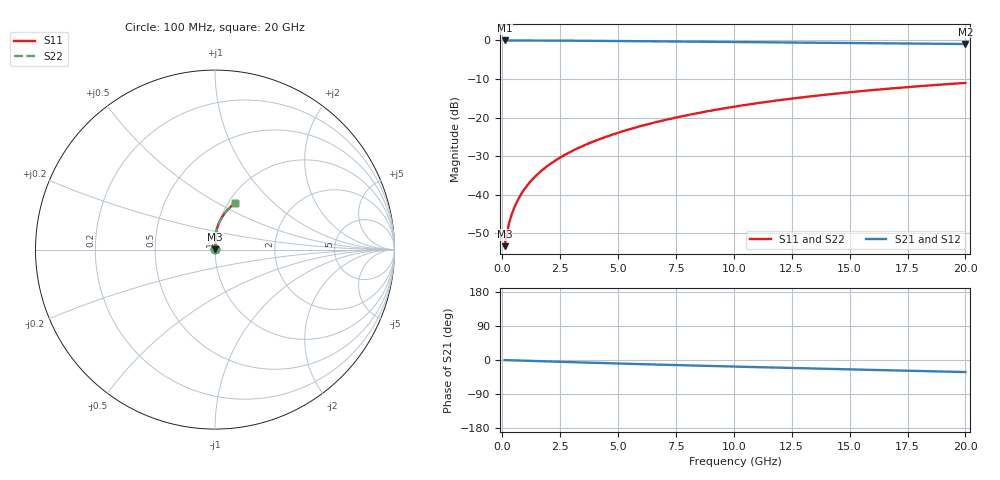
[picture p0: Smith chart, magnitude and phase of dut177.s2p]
! Touchstone file exported from HFSS 2024.1.0
!  File:  C:/UserFiles/LocalFiles/RDL_TSV_Batchsim/temp_RDL_bottom_177_1778698505.aedt
!  Generated:  02:57:29 AM May 14, 2026
!  Design:  RDL_bottom
!  Project:  temp_RDL_bottom_177_1778698505
!  Setup:  Setup1
!  Solution:  Sweep
! Variables:
!  dtsv = 10.80580581um
!  hbump = 3um
!  htsv = 56.99um
!  ldown = 468.27um
!  lrdl = 100um
!  p = 40
!  p1 = 48.26um
!  rhole = 1um
!  t = 450um
!  tdown = 4.65um
!  trdl = 3.915915916um
!  wdown = 24.01um
!  wrdl = 20um
# GHz S MA R 50.000000
! Terminal data exported
! Port[1] = RDL1_T1
! Port[2] = RDL1_T2
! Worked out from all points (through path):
!   200 points, 100 MHz to 20 GHz, reference 50 ohm
!   highest |S21| = -0.01 dB at 100 MHz (marker M1); lowest = -0.9 dB at 20 GHz (marker M2)
!   group delay of S21, straight-line fit = 4.36 ps
!   lowest |S11| = -53.4 dB at 100 MHz (marker M3), VSWR 1.00, Z = 50.2 + j0.135 ohm
!   |S11| at or under -10 dB: start of sweep to end of sweep
!   |S22| runs from -53.4 to -11.0 dB; largest |S21 - S12| = 3e-15
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0.1  0.002149 38.9  0.9983 -0.2  0.9983 -0.2  0.002149 38.9
! Gamma 0 0 0 0
! Port Impedance 50 0 50 0
0.2  0.003188 56.3  0.9982 -0.4  0.9982 -0.4  0.003188 56.3
0.3  0.004325 64.2  0.998 -0.6  0.998 -0.6  0.004325 64.2
0.4  0.005464 68.8  0.9979 -0.8  0.9979 -0.8  0.005465 68.8
0.5  0.006596 71.9  0.9978 -1.0  0.9978 -1.0  0.006597 71.9
0.6  0.007725 74.2  0.9976 -1.2  0.9976 -1.2  0.007726 74.2
0.8  0.009994 77.6  0.9973 -1.6  0.9973 -1.6  0.009995 77.5
1.1  0.01344 80.8  0.9969 -2.1  0.9969 -2.1  0.01345 80.8
1.3  0.01578 82.2  0.9965 -2.5  0.9965 -2.5  0.01578 82.2
1.6  0.01933 83.9  0.9958 -3.1  0.9958 -3.1  0.01933 83.8
2.1  0.02537 85.6  0.9944 -4.0  0.9944 -4.0  0.02537 85.6
2.7  0.03282 86.9  0.9923 -5.1  0.9923 -5.1  0.03282 86.9
3.5  0.04311 87.8  0.9889 -6.6  0.9889 -6.6  0.0431 87.8
4.2  0.05245 88.1  0.9856 -7.9  0.9856 -7.9  0.05244 88.1
5  0.06349 88.1  0.9815 -9.2  0.9815 -9.2  0.06348 88.1
6.8  0.08954 86.9  0.9715 -12.3  0.9715 -12.3  0.08951 86.9
8.4  0.1136 85.0  0.9624 -14.8  0.9624 -14.8  0.1136 85.0
10.1  0.1396 82.6  0.9528 -17.5  0.9528 -17.5  0.1395 82.6
11.7  0.1639 80.1  0.9438 -19.9  0.9438 -19.9  0.1638 80.1
13.4  0.1894 77.3  0.9344 -22.4  0.9344 -22.4  0.1893 77.3
16.7  0.2369 71.9  0.9162 -27.2  0.9162 -27.2  0.2367 71.9
20  0.281 66.7  0.8979 -31.8  0.8979 -31.8  0.2809 66.6
